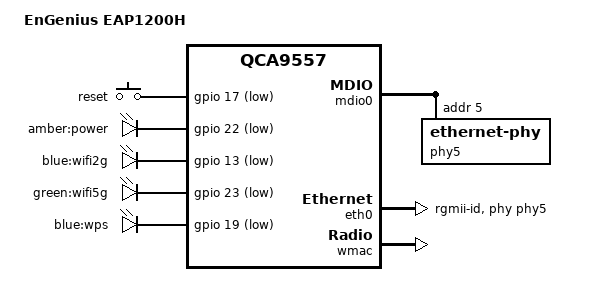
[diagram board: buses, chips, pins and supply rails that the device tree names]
// SPDX-License-Identifier: GPL-2.0-or-later OR MIT

#include "qca955x_senao_loader.dtsi"

#include <dt-bindings/gpio/gpio.h>
#include <dt-bindings/input/input.h>

/ {
	compatible = "engenius,eap1200h", "qca,qca9557";
	model = "EnGenius EAP1200H";

	aliases {
		label-mac-device = &eth0;
		led-boot = &led_power;
		led-failsafe = &led_power;
		led-running = &led_power;
		led-upgrade = &led_power;
	};

	keys {
		compatible = "gpio-keys";

		reset {
			label = "reset";
			gpios = <&gpio 17 GPIO_ACTIVE_LOW>;
			debounce-interval = <60>;
			linux,code = <KEY_RESTART>;
		};
	};

	leds {
		compatible = "gpio-leds";

		led_power: power {
			label = "amber:power";
			gpios = <&gpio 22 GPIO_ACTIVE_LOW>;
			default-state = "on";
		};

		wifi2g {
			label = "blue:wifi2g";
			gpios = <&gpio 13 GPIO_ACTIVE_LOW>;
			linux,default-trigger = "phy1tpt";
		};

		wifi5g {
			label = "green:wifi5g";
			gpios = <&gpio 23 GPIO_ACTIVE_LOW>;
			linux,default-trigger = "phy0tpt";
		};

		wps {
			label = "blue:wps";
			gpios = <&gpio 19 GPIO_ACTIVE_LOW>;
		};
	};
};

&partitions {
	art: partition@ff0000 {
		label = "art";
		reg = <0xff0000 0x010000>;
		read-only;
	};
};

&mdio0 {
	status = "okay";

	phy5: ethernet-phy@5 {
		reg = <5>;
		eee-broken-100tx;
		eee-broken-1000t;
	};
};

&eth0 {
	status = "okay";

	mtd-mac-address = <&art 0x0>;

	phy-handle = <&phy5>;
	phy-mode = "rgmii-id";

	pll-data = <0x82000000 0x80000101 0x80001313>;
};

&wmac {
	status = "okay";

	mtd-cal-data = <&art 0x1000>;
	mtd-mac-address = <&art 0x0>;
	mtd-mac-address-increment = <1>;
};
